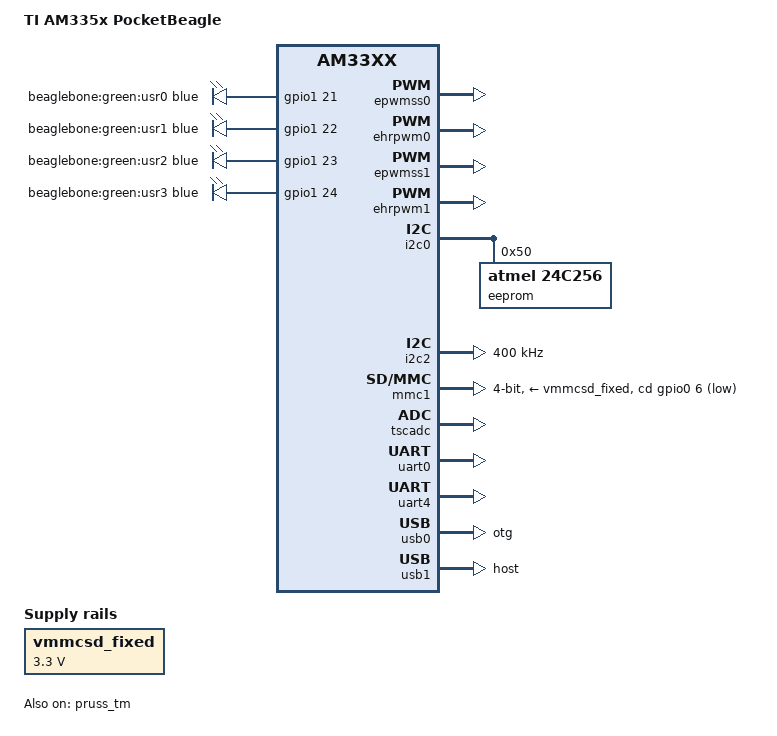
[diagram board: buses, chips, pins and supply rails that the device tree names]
// SPDX-License-Identifier: GPL-2.0
/*
 * Copyright (C) 2012 Texas Instruments Incorporated - https://www.ti.com/
 *
 * Author: Robert Nelson <robertcnelson@gmail.com>
 */
/dts-v1/;

#include "am33xx.dtsi"
#include "am335x-osd335x-common.dtsi"
#include <dt-bindings/leds/common.h>

/ {
	model = "TI AM335x PocketBeagle";
	compatible = "ti,am335x-pocketbeagle", "ti,am335x-bone", "ti,am33xx";

	chosen {
		stdout-path = &uart0;
	};

	leds {
		pinctrl-names = "default";
		pinctrl-0 = <&usr_leds_pins>;

		compatible = "gpio-leds";

		led-usr0 {
			label = "beaglebone:green:usr0";
			color = <LED_COLOR_ID_BLUE>;
			function = LED_FUNCTION_HEARTBEAT;
			gpios = <&gpio1 21 GPIO_ACTIVE_HIGH>;
			linux,default-trigger = "heartbeat";
			default-state = "off";
		};

		led-usr1 {
			label = "beaglebone:green:usr1";
			color = <LED_COLOR_ID_BLUE>;
			function = LED_FUNCTION_DISK_ACTIVITY;
			gpios = <&gpio1 22 GPIO_ACTIVE_HIGH>;
			linux,default-trigger = "mmc0";
			default-state = "off";
		};

		led-usr2 {
			label = "beaglebone:green:usr2";
			color = <LED_COLOR_ID_BLUE>;
			function = LED_FUNCTION_CPU;
			gpios = <&gpio1 23 GPIO_ACTIVE_HIGH>;
			linux,default-trigger = "cpu0";
			default-state = "off";
		};

		led-usr3 {
			label = "beaglebone:green:usr3";
			color = <LED_COLOR_ID_BLUE>;
			function = LED_FUNCTION_INDICATOR;
			gpios = <&gpio1 24 GPIO_ACTIVE_HIGH>;
			default-state = "off";
		};
	};

	vmmcsd_fixed: fixedregulator0 {
		compatible = "regulator-fixed";
		regulator-name = "vmmcsd_fixed";
		regulator-min-microvolt = <3300000>;
		regulator-max-microvolt = <3300000>;
	};
};

&gpio0 {
	gpio-line-names =
		"NC",
		"NC",
		"P1.08 [SPI0_CLK]",
		"P1.10 [SPI0_MISO]",
		"P1.12 [SPI0_MOSI]",
		"P1.06 [SPI0_CS]",
		"[MMC0_CD]",
		"P2.29 [SPI1_CLK]",
		"[SYSBOOT 12]",
		"[SYSBOOT 13]",
		"[SYSBOOT 14]",
		"[SYSBOOT 15]",
		"P1.26 [I2C2_SDA]",
		"P1.28 [I2C2_SCL]",
		"P2.11 [I2C1_SDA]",
		"P2.09 [I2C1_SCL]",
		"NC",
		"NC",
		"NC",
		"P2.31 [SPI1_CS]",
		"P1.20 [PRU0.16]",
		"NC",
		"NC",
		"P2.03",
		"NC",
		"NC",
		"P1.34",
		"P2.19",
		"NC",
		"NC",
		"P2.05 [UART4_RX]",
		"P2.07 [UART4_TX]";
};

&gpio1 {
	gpio-line-names =
		"NC",
		"NC",
		"NC",
		"NC",
		"NC",
		"NC",
		"NC",
		"NC",
		"NC",
		"P2.25 [SPI1_MOSI]",
		"P1.32 [UART0_RX]",
		"P1.30 [UART0_TX]",
		"P2.24",
		"P2.33",
		"P2.22",
		"P2.18 [PRU0.15i]",
		"NC",
		"NC",
		"P2.01 [PWM1A]",
		"NC",
		"P2.10",
		"[USR LED 0]",
		"[USR LED 1]",
		"[USR LED 2]",
		"[USR LED 3]",
		"P2.06",
		"P2.04",
		"P2.02",
		"P2.08",
		"NC",
		"NC",
		"NC";
};

&gpio2 {
	gpio-line-names =
		"P2.20",
		"P2.17",
		"NC",
		"NC",
		"NC",
		"[EEPROM_WP]",
		"[SYSBOOT 0]",
		"[SYSBOOT 1]",
		"[SYSBOOT 2]",
		"[SYSBOOT 3]",
		"[SYSBOOT 4]",
		"[SYSBOOT 5]",
		"[SYSBOOT 6]",
		"[SYSBOOT 7]",
		"[SYSBOOT 8]",
		"[SYSBOOT 9]",
		"[SYSBOOT 10]",
		"[SYSBOOT 11]",
		"NC",
		"NC",
		"NC",
		"NC",
		"P2.35 [AIN5]",
		"P1.02 [AIN6]",
		"P1.35 [PRU1.10]",
		"P1.04 [PRU1.11]",
		"[MMC0_DAT3]",
		"[MMC0_DAT2]",
		"[MMC0_DAT1]",
		"[MMC0_DAT0]",
		"[MMC0_CLK]",
		"[MMC0_CMD]";
};

&gpio3 {
	gpio-line-names =
		"NC",
		"NC",
		"NC",
		"NC",
		"NC",
		"[I2C0_SDA]",
		"[I2C0_SCL]",
		"[JTAG EMU0]",
		"[JTAG EMU1]",
		"NC",
		"NC",
		"NC",
		"NC",
		"P1.03 [USB1]",
		"P1.36 [PWM0A]",
		"P1.33 [PRU0.1]",
		"P2.32 [PRU0.2]",
		"P2.30 [PRU0.3]",
		"P1.31 [PRU0.4]",
		"P2.34 [PRU0.5]",
		"P2.28 [PRU0.6]",
		"P1.29 [PRU0.7]",
		"NC",
		"NC",
		"NC",
		"NC",
		"NC",
		"NC",
		"NC",
		"NC",
		"NC",
		"NC";
};

&am33xx_pinmux {

	compatible = "pinconf-single";
	pinctrl-names = "default";

	/* P2_03 (ZCZ ball T10) gpio0_23 0x824 PIN 9 */
	P2_03_gpio: P2-03-gpio-pins {
		pinctrl-single,pins = <
			AM33XX_PADCONF(AM335X_PIN_GPMC_AD9, PIN_INPUT_PULLUP, MUX_MODE7)
		>;
		pinctrl-single,bias-pullup   =   < 0x10  0x10  0x00  0x18>;
		pinctrl-single,bias-pulldown   = < 0x10  0x00  0x10  0x18>;
	};

	/* P1_34 (ZCZ ball T11) gpio0_26 0x828 PIN 10 */
	P1_34_gpio: P1-34-gpio-pins {
		pinctrl-single,pins = <
			AM33XX_PADCONF(AM335X_PIN_GPMC_AD10, PIN_INPUT_PULLUP, MUX_MODE7)
		>;
		pinctrl-single,bias-pullup   =   < 0x10  0x10  0x00  0x18>;
		pinctrl-single,bias-pulldown   = < 0x10  0x00  0x10  0x18>;
	};

	/* P2_19 (ZCZ ball U12) gpio0_27 0x82c PIN 11 */
	P2_19_gpio: P2-19-gpio-pins {
		pinctrl-single,pins = <
			AM33XX_PADCONF(AM335X_PIN_GPMC_AD11, PIN_INPUT_PULLUP, MUX_MODE7)
		>;
		pinctrl-single,bias-pullup   =   < 0x10  0x10  0x00  0x18>;
		pinctrl-single,bias-pulldown   = < 0x10  0x00  0x10  0x18>;
	};

	/* P2_24 (ZCZ ball T12) gpio1_12 0x830 PIN 12 */
	P2_24_gpio: P2-24-gpio-pins {
		pinctrl-single,pins = <
			AM33XX_PADCONF(AM335X_PIN_GPMC_AD12, PIN_INPUT_PULLUP, MUX_MODE7)
		>;
		pinctrl-single,bias-pullup   =   < 0x10  0x10  0x00  0x18>;
		pinctrl-single,bias-pulldown   = < 0x10  0x00  0x10  0x18>;
	};

	/* P2_33 (ZCZ ball R12) gpio1_13 0x834 PIN 13 */
	P2_33_gpio: P2-33-gpio-pins {
		pinctrl-single,pins = <
			AM33XX_PADCONF(AM335X_PIN_GPMC_AD13, PIN_INPUT_PULLUP, MUX_MODE7)
		>;
		pinctrl-single,bias-pullup   =   < 0x10  0x10  0x00  0x18>;
		pinctrl-single,bias-pulldown   = < 0x10  0x00  0x10  0x18>;
	};

	/* P2_22 (ZCZ ball V13) gpio1_14 0x838 PIN 14 */
	P2_22_gpio: P2-22-gpio-pins {
		pinctrl-single,pins = <
			AM33XX_PADCONF(AM335X_PIN_GPMC_AD14, PIN_INPUT_PULLUP, MUX_MODE7)
		>;
		pinctrl-single,bias-pullup   =   < 0x10  0x10  0x00  0x18>;
		pinctrl-single,bias-pulldown   = < 0x10  0x00  0x10  0x18>;
	};

	/* P2_20 (ZCZ ball T13) gpio2_00 0x888 */
	P2_20_gpio: P2-20-gpio-pins {
		pinctrl-single,pins = <
			AM33XX_PADCONF(AM335X_PIN_GPMC_CSN3, PIN_INPUT_PULLUP, MUX_MODE7)
		>;
		pinctrl-single,bias-pullup   =   < 0x10  0x10  0x00  0x18>;
		pinctrl-single,bias-pulldown   = < 0x10  0x00  0x10  0x18>;
	};

	/* P2_10 (ZCZ ball R14) gpio1_20 0x850 PIN 20 */
	P2_10_gpio: P2-10-gpio-pins {
		pinctrl-single,pins = <
			AM33XX_PADCONF(AM335X_PIN_GPMC_A4, PIN_INPUT_PULLUP, MUX_MODE7)
		>;
		pinctrl-single,bias-pullup   =   < 0x10  0x10  0x00  0x18>;
		pinctrl-single,bias-pulldown   = < 0x10  0x00  0x10  0x18>;
	};

	/* P2_06 (ZCZ ball U16) gpio1_25 0x864 PIN 25 */
	P2_06_gpio: P2-06-gpio-pins {
		pinctrl-single,pins = <
			AM33XX_PADCONF(AM335X_PIN_GPMC_A9, PIN_INPUT_PULLUP, MUX_MODE7)
		>;
		pinctrl-single,bias-pullup   =   < 0x10  0x10  0x00  0x18>;
		pinctrl-single,bias-pulldown   = < 0x10  0x00  0x10  0x18>;
	};

	/* P2_04 (ZCZ ball T16) gpio1_26 0x868 PIN 26 */
	P2_04_gpio: P2-04-gpio-pins {
		pinctrl-single,pins = <
			AM33XX_PADCONF(AM335X_PIN_GPMC_A10, PIN_INPUT_PULLUP, MUX_MODE7)
		>;
		pinctrl-single,bias-pullup   =   < 0x10  0x10  0x00  0x18>;
		pinctrl-single,bias-pulldown   = < 0x10  0x00  0x10  0x18>;
	};

	/* P2_02 (ZCZ ball V17) gpio1_27 0x86c PIN 27 */
	P2_02_gpio: P2-02-gpio-pins {
		pinctrl-single,pins = <
			AM33XX_PADCONF(AM335X_PIN_GPMC_A11, PIN_INPUT_PULLUP, MUX_MODE7)
		>;
		pinctrl-single,bias-pullup   =   < 0x10  0x10  0x00  0x18>;
		pinctrl-single,bias-pulldown   = < 0x10  0x00  0x10  0x18>;
	};

	/* P2_08 (ZCZ ball U18) gpio1_28 0x878 PIN 30 */
	P2_08_gpio: P2-08-gpio-pins {
		pinctrl-single,pins = <
			AM33XX_PADCONF(AM335X_PIN_GPMC_BEN1, PIN_INPUT_PULLDOWN, MUX_MODE7)
		>;
		pinctrl-single,bias-pullup   =   < 0x00  0x10  0x00  0x18>;
		pinctrl-single,bias-pulldown   = < 0x00  0x00  0x10  0x18>;
	};

	/* P2_17 (ZCZ ball V12) gpio2_1 0x88c PIN 35 */
	P2_17_gpio: P2-17-gpio-pins {
		pinctrl-single,pins = <
			AM33XX_PADCONF(AM335X_PIN_GPMC_CLK, PIN_INPUT_PULLUP, MUX_MODE7)
		>;
		pinctrl-single,bias-pullup   =   < 0x10  0x10  0x00  0x18>;
		pinctrl-single,bias-pulldown   = < 0x10  0x00  0x10  0x18>;
	};

	i2c2_pins: pinmux-i2c2-pins {
		pinctrl-single,pins = <
			AM33XX_PADCONF(AM335X_PIN_UART1_RTSN, PIN_INPUT_PULLUP, MUX_MODE3)	/* (D17) uart1_rtsn.I2C2_SCL */
			AM33XX_PADCONF(AM335X_PIN_UART1_CTSN, PIN_INPUT_PULLUP, MUX_MODE3)	/* (D18) uart1_ctsn.I2C2_SDA */
		>;
	};

	ehrpwm0_pins: pinmux-ehrpwm0-pins {
		pinctrl-single,pins = <
			AM33XX_PADCONF(AM335X_PIN_MCASP0_ACLKX, PIN_OUTPUT_PULLDOWN, MUX_MODE1)	/* (A13) mcasp0_aclkx.ehrpwm0A */
		>;
	};

	ehrpwm1_pins: pinmux-ehrpwm1-pins {
		pinctrl-single,pins = <
			AM33XX_PADCONF(AM335X_PIN_GPMC_A2, PIN_OUTPUT_PULLDOWN, MUX_MODE6)	/* (U14) gpmc_a2.ehrpwm1A */
		>;
	};

	mmc0_pins: pinmux-mmc0-pins {
		pinctrl-single,pins = <
			AM33XX_PADCONF(AM335X_PIN_SPI0_CS1, PIN_INPUT, MUX_MODE7)		/* (C15) spi0_cs1.gpio0[6] */
			AM33XX_PADCONF(AM335X_PIN_MMC0_DAT0, PIN_INPUT_PULLUP, MUX_MODE0)
			AM33XX_PADCONF(AM335X_PIN_MMC0_DAT1, PIN_INPUT_PULLUP, MUX_MODE0)
			AM33XX_PADCONF(AM335X_PIN_MMC0_DAT2, PIN_INPUT_PULLUP, MUX_MODE0)
			AM33XX_PADCONF(AM335X_PIN_MMC0_DAT3, PIN_INPUT_PULLUP, MUX_MODE0)
			AM33XX_PADCONF(AM335X_PIN_MMC0_CMD, PIN_INPUT_PULLUP, MUX_MODE0)
			AM33XX_PADCONF(AM335X_PIN_MMC0_CLK, PIN_INPUT_PULLUP, MUX_MODE0)
		>;
	};

	spi0_pins: pinmux-spi0-pins {
		pinctrl-single,pins = <
			AM33XX_PADCONF(AM335X_PIN_SPI0_SCLK, PIN_INPUT_PULLUP, MUX_MODE0)
			AM33XX_PADCONF(AM335X_PIN_SPI0_D0, PIN_INPUT_PULLUP, MUX_MODE0)
			AM33XX_PADCONF(AM335X_PIN_SPI0_D1, PIN_INPUT_PULLUP, MUX_MODE0)
			AM33XX_PADCONF(AM335X_PIN_SPI0_CS0, PIN_INPUT_PULLUP, MUX_MODE0)
		>;
	};

	spi1_pins: pinmux-spi1-pins {
		pinctrl-single,pins = <
			AM33XX_PADCONF(AM335X_PIN_ECAP0_IN_PWM0_OUT, PIN_INPUT_PULLUP, MUX_MODE4)	/* (C18) eCAP0_in_PWM0_out.spi1_sclk */
			AM33XX_PADCONF(AM335X_PIN_UART0_CTSN, PIN_INPUT_PULLUP, MUX_MODE4)	/* (E18) uart0_ctsn.spi1_d0 */
			AM33XX_PADCONF(AM335X_PIN_UART0_RTSN, PIN_INPUT_PULLUP, MUX_MODE4)	/* (E17) uart0_rtsn.spi1_d1 */
			AM33XX_PADCONF(AM335X_PIN_XDMA_EVENT_INTR0, PIN_INPUT_PULLUP, MUX_MODE4)	/* (A15) xdma_event_intr0.spi1_cs1 */
		>;
	};

	usr_leds_pins: pinmux-usr-leds-pins {
		pinctrl-single,pins = <
			AM33XX_PADCONF(AM335X_PIN_GPMC_A5, PIN_OUTPUT, MUX_MODE7)		/* (V15) gpmc_a5.gpio1[21] - USR_LED_0 */
			AM33XX_PADCONF(AM335X_PIN_GPMC_A6, PIN_OUTPUT, MUX_MODE7)		/* (U15) gpmc_a6.gpio1[22] - USR_LED_1 */
			AM33XX_PADCONF(AM335X_PIN_GPMC_A7, PIN_OUTPUT, MUX_MODE7)		/* (T15) gpmc_a7.gpio1[23] - USR_LED_2 */
			AM33XX_PADCONF(AM335X_PIN_GPMC_A8, PIN_OUTPUT, MUX_MODE7)		/* (V16) gpmc_a8.gpio1[24] - USR_LED_3 */
		>;
	};

	uart0_pins: pinmux-uart0-pins {
		pinctrl-single,pins = <
			AM33XX_PADCONF(AM335X_PIN_UART0_RXD, PIN_INPUT_PULLUP, MUX_MODE0)
			AM33XX_PADCONF(AM335X_PIN_UART0_TXD, PIN_OUTPUT_PULLDOWN, MUX_MODE0)
		>;
	};

	uart4_pins: pinmux-uart4-pins {
		pinctrl-single,pins = <
			AM33XX_PADCONF(AM335X_PIN_GPMC_WAIT0, PIN_INPUT_PULLUP, MUX_MODE6)	/* (T17) gpmc_wait0.uart4_rxd */
			AM33XX_PADCONF(AM335X_PIN_GPMC_WPN, PIN_OUTPUT_PULLDOWN, MUX_MODE6)	/* (U17) gpmc_wpn.uart4_txd */
		>;
	};

	pru0_pins: pinmux-pru0-pins {
		pinctrl-single,pins = <
			AM33XX_PADCONF(AM335X_PIN_XDMA_EVENT_INTR1, PIN_INPUT_PULLUP, MUX_MODE5)/* (D14) xdma_event_intr1.pr1_pru0_pru_r31_16 */
			AM33XX_PADCONF(AM335X_PIN_MCASP0_AHCLKX, PIN_OUTPUT_PULLDOWN, MUX_MODE5)/* (A14) mcasp0_ahclkx.pr1_pru0_pru_r30_7 */
			AM33XX_PADCONF(AM335X_PIN_MCASP0_ACLKR, PIN_OUTPUT_PULLDOWN, MUX_MODE5)	/* (B12) mcasp0_acklr.pr1_pru0_pru_r30_4 */
			AM33XX_PADCONF(AM335X_PIN_MCASP0_FSX, PIN_OUTPUT_PULLDOWN, MUX_MODE5)	/* (B13) mcasp0_fsx.pr1_pru0_pru_r30_1 */
			AM33XX_PADCONF(AM335X_PIN_GPMC_AD15, PIN_INPUT_PULLUP, MUX_MODE6)	/* (U13) gpmc_ad15.pr1_pru0_pru_r31_15 */
			AM33XX_PADCONF(AM335X_PIN_MCASP0_AXR1, PIN_OUTPUT_PULLDOWN, MUX_MODE5)	/* (D13) mcasp0_axr1.pr1_pru0_pru_r30_6 */
			AM33XX_PADCONF(AM335X_PIN_MCASP0_AHCLKR, PIN_OUTPUT_PULLDOWN, MUX_MODE5)/* (C12) mcasp0_ahclkr.pr1_pru0_pru_r30_3 */
			AM33XX_PADCONF(AM335X_PIN_MCASP0_AXR0, PIN_OUTPUT_PULLDOWN, MUX_MODE5)	/* (D12) mcasp0_axr0.pr1_pru0_pru_r30_2 */
			AM33XX_PADCONF(AM335X_PIN_MCASP0_FSR, PIN_OUTPUT_PULLDOWN, MUX_MODE5)	/* (C13) mcasp0_fsr.pr1_pru0_pru_r30_5 */
		>;
	};

	pru1_pins: pinmux-pru1-pins {
		pinctrl-single,pins = <
			AM33XX_PADCONF(AM335X_PIN_LCD_AC_BIAS_EN, PIN_OUTPUT_PULLDOWN, MUX_MODE5)/*(R6) lcd_ac_bias_en.pr1_pru1_pru_r30_11 */
			AM33XX_PADCONF(AM335X_PIN_LCD_PCLK, PIN_OUTPUT_PULLDOWN, MUX_MODE5)	/* (V5) lcd_pclk.pr1_pru1_pru_r30_10 */
		>;
	};
};

&epwmss0 {
	status = "okay";
};

&ehrpwm0 {
	status = "okay";
	pinctrl-names = "default";
	pinctrl-0 = <&ehrpwm0_pins>;
};

&epwmss1 {
	status = "okay";
};

&ehrpwm1 {
	status = "okay";
	pinctrl-names = "default";
	pinctrl-0 = <&ehrpwm1_pins>;
};

&i2c0 {
	eeprom: eeprom@50 {
		compatible = "atmel,24c256";
		reg = <0x50>;
	};
};

&i2c2 {
	pinctrl-names = "default";
	pinctrl-0 = <&i2c2_pins>;

	status = "okay";
	clock-frequency = <400000>;
};

&mmc1 {
	status = "okay";
	vmmc-supply = <&vmmcsd_fixed>;
	bus-width = <4>;
	pinctrl-names = "default";
	pinctrl-0 = <&mmc0_pins>;
	cd-gpios = <&gpio0 6 GPIO_ACTIVE_LOW>;
};

&rtc {
	system-power-controller;
};

&tscadc {
	status = "okay";
	adc {
		ti,adc-channels = <0 1 2 3 4 5 6 7>;
		ti,chan-step-avg = <16 16 16 16 16 16 16 16>;
		ti,chan-step-opendelay = <0x98 0x98 0x98 0x98 0x98 0x98 0x98 0x98>;
		ti,chan-step-sampledelay = <0x0 0x0 0x0 0x0 0x0 0x0 0x0 0x0>;
	};
};

&uart0 {
	pinctrl-names = "default";
	pinctrl-0 = <&uart0_pins>;

	status = "okay";
};

&uart4 {
	pinctrl-names = "default";
	pinctrl-0 = <&uart4_pins>;

	status = "okay";
};

&usb0 {
	dr_mode = "otg";
};

&usb1 {
	dr_mode = "host";
};

&pruss_tm {
	status = "okay";
};

&pru0 {
	pinctrl-names = "default";
	pinctrl-0 = <&pru0_pins>;
};

&pru1 {
	pinctrl-names = "default";
	pinctrl-0 = <&pru1_pins>;
};
